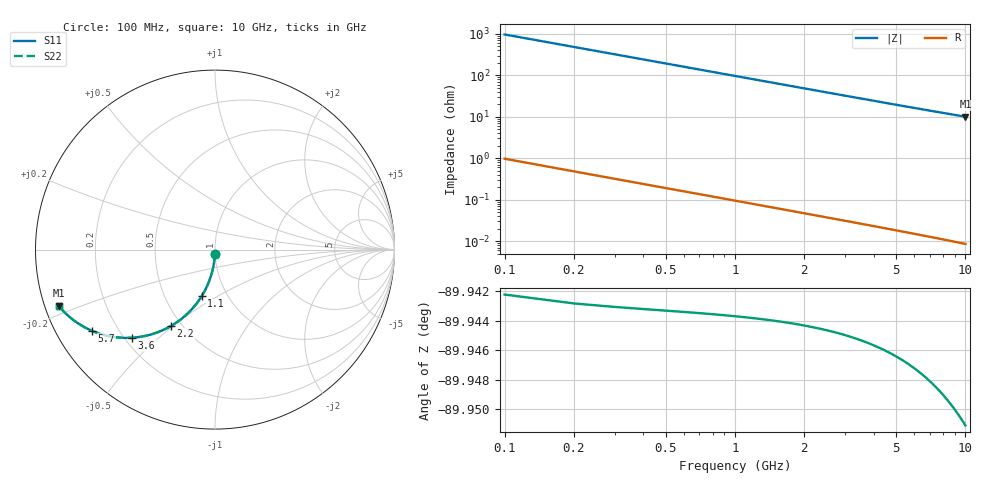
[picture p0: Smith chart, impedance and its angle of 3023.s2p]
# Hz S RI R 50.00
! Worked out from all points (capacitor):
!   100 points, 100 MHz to 10 GHz, reference 50 ohm
!   read as one part in shunt: C = 1.64 pF near 100 MHz
!   lowest |Z| = 10.1 ohm at 10 GHz (marker M1)
!   S11 on the Smith chart (normalised r, x): 100 MHz: 1.00, -0.05; 1.1 GHz: 0.76, -0.43; 2.2 GHz: 0.44, -0.49; 3.6 GHz: 0.23, -0.41; 5.7 GHz: 0.11, -0.30; 10 GHz: 0.04, -0.17
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1e8  -0.000643 -0.0256  0.9993 -0.026  0.9993 -0.026  -0.000643 -0.0256
2e8  -0.00266 -0.0511  0.9972 -0.0519  0.9972 -0.0519  -0.00266 -0.0511
3e8  -0.006 -0.0764  0.9939 -0.0776  0.9939 -0.0776  -0.006 -0.0764
4e8  -0.0106 -0.1014  0.9893 -0.103  0.9893 -0.103  -0.0106 -0.1014
5e8  -0.0165 -0.126  0.9834 -0.128  0.9834 -0.128  -0.0165 -0.126
6e8  -0.0236 -0.1502  0.9763 -0.1525  0.9763 -0.1525  -0.0236 -0.1502
7e8  -0.0318 -0.1737  0.9681 -0.1764  0.9681 -0.1764  -0.0318 -0.1737
9e8  -0.0514 -0.2187  0.9485 -0.2222  0.9485 -0.2222  -0.0514 -0.2187
1.1e9  -0.0749 -0.2607  0.925 -0.2649  0.925 -0.2649  -0.0749 -0.2607
1.4e9  -0.1159 -0.3169  0.884 -0.3224  0.884 -0.3224  -0.1159 -0.3169
1.8e9  -0.178 -0.3785  0.8219 -0.3856  0.8219 -0.3856  -0.178 -0.3785
2.2e9  -0.2443 -0.4249  0.7555 -0.4335  0.7555 -0.4335  -0.2443 -0.4249
2.8e9  -0.3437 -0.469  0.6561 -0.48  0.6561 -0.48  -0.3437 -0.469
3.4e9  -0.4358 -0.4887  0.564 -0.5021  0.564 -0.5021  -0.4358 -0.4887
3.6e9  -0.4641 -0.4911  0.5357 -0.5053  0.5357 -0.5053  -0.4641 -0.4911
4.3e9  -0.5528 -0.4882  0.4469 -0.5052  0.4469 -0.5052  -0.5528 -0.4882
5.1e9  -0.6351 -0.4707  0.3646 -0.491  0.3646 -0.491  -0.6351 -0.4707
5.7e9  -0.6852 -0.4525  0.3144 -0.4752  0.3144 -0.4752  -0.6852 -0.4525
6.7e9  -0.7509 -0.4184  0.2487 -0.4453  0.2487 -0.4453  -0.7509 -0.4184
7.5e9  -0.791 -0.3908  0.2084 -0.421  0.2084 -0.421  -0.791 -0.3908
8.4e9  -0.8264 -0.3609  0.1729 -0.3949  0.1729 -0.3949  -0.8264 -0.3609
1e10  -0.8716 -0.313  0.1274 -0.3539  0.1274 -0.3539  -0.8716 -0.313
